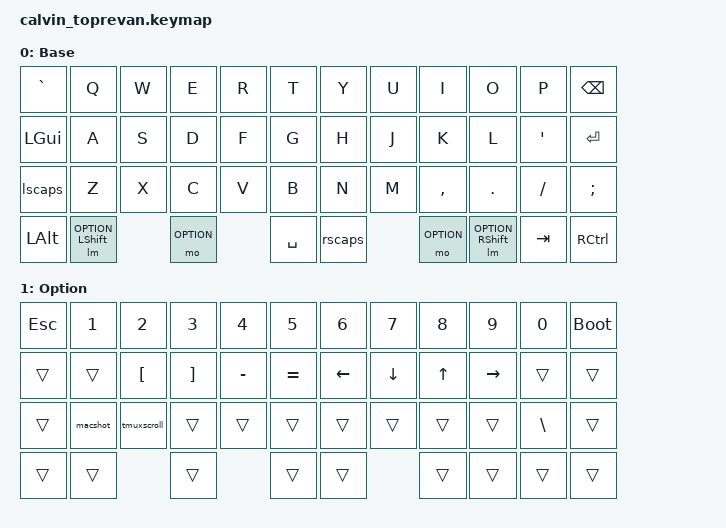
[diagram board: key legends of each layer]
/*
 * Copyright (c) 2024 The ZMK Contributors
 *
 * SPDX-License-Identifier: MIT
 */

#include <behaviors.dtsi>
#include <dt-bindings/zmk/keys.h>

#define OPTION 1

&sk {
    quick-release;
};

/ {
    macros {
        tmuxscroll: tmuxscroll {
          compatible = "zmk,behavior-macro";
          #binding-cells = <0>;
          bindings
              = <&macro_press &kp LCTL>
              , <&macro_tap &kp A>
              , <&macro_release &kp LCTL>
              , <&macro_tap &kp PG_UP>
              ;
        };
        macshot: macshot {
          compatible = "zmk,behavior-macro";
          #binding-cells = <0>;
          bindings
              = <&macro_press &kp LSFT>
              , <&macro_press &kp LGUI>
              , <&macro_tap &kp N4>
              , <&macro_release &kp LSFT>
              , <&macro_release &kp LGUI>
              ;
        };
        lm: lm {
            compatible = "zmk,behavior-macro-two-param";
            wait-ms = <0>;
            tap-ms = <0>;
            #binding-cells = <2>;
            bindings
                = <&macro_param_1to1>
                , <&macro_press &mo MACRO_PLACEHOLDER>
                , <&macro_param_2to1>
                , <&macro_press &kp MACRO_PLACEHOLDER>
                , <&macro_pause_for_release>
                , <&macro_param_2to1>
                , <&macro_release &kp MACRO_PLACEHOLDER>
                , <&macro_param_1to1>
                , <&macro_release &mo MACRO_PLACEHOLDER>
                ;
        };
    };
    behaviors {
        lscaps: left_shift_capslock {
            compatible = "zmk,behavior-mod-morph";
            #binding-cells = <0>;
            bindings = <&sk LSHFT>, <&caps_word>;
            mods = <(MOD_RSFT)>;
        };
        rscaps: right_shift_capslock {
            compatible = "zmk,behavior-mod-morph";
            #binding-cells = <0>;
            bindings = <&sk RSHFT>, <&caps_word>;
            mods = <(MOD_LSFT)>;
        };
    };

    keymap {
        compatible = "zmk,keymap";

        base_layer {
            display-name = "Base";
            bindings = <
&kp GRAVE   &kp Q        &kp W       &kp E       &kp R          &kp T        &kp Y            &kp U          &kp I       &kp O             &kp P     &kp BACKSPACE
&kp LGUI    &kp A        &kp S       &kp D       &kp F          &kp G        &kp H            &kp J          &kp K       &kp L             &kp QUOT  &kp RET
&lscaps     &kp Z        &kp X       &kp C       &kp V          &kp B        &kp N            &kp M          &kp COMMA   &kp DOT           &kp FSLH  &kp SEMI
&kp LALT    &lm OPTION LSHIFT        &mo OPTION                 &kp SPACE    &rscaps                         &mo OPTION  &lm OPTION RSHIFT &kp TAB   &kp RCTL
            >;
        };

        option {
            display-name = "Option";
            bindings = <
&kp ESC     &kp N1       &kp N2      &kp N3      &kp N4         &kp N5       &kp N6           &kp N7         &kp N8      &kp N9            &kp N0    &bootloader
&trans      &trans       &kp LBKT    &kp RBKT    &kp MINUS      &kp EQUAL    &kp LEFT         &kp DOWN       &kp UP      &kp RIGHT         &trans    &trans
&trans      &macshot     &tmuxscroll &trans      &trans         &trans       &trans           &trans         &trans      &trans            &kp BSLH  &trans
&trans      &trans                   &trans                     &trans       &trans                          &trans      &trans            &trans    &trans
            >;
        };
    };
};
